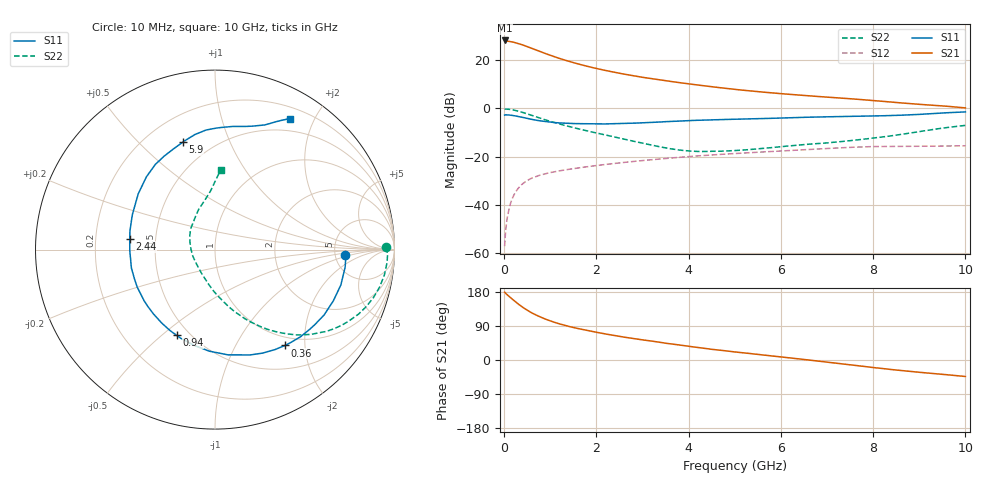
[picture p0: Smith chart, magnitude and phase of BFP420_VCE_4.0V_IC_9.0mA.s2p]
! Infineon Technologies  Discrete & RF Semiconductors
! BFP420
! VCE =  4.0 V,  IC =  9.0 mA
! Common Emitter S-Parameters:  Jan 2016
# GHz  S  MA  R  50
!  f  S11  S21  S12  S22
! GHz  MAG  ANG  MAG  ANG  MAG  ANG  MAG  ANG
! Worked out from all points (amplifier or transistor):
!   233 points, 10 MHz to 10 GHz, reference 50 ohm
!   highest |S21| = 28.1 dB at 10 MHz (marker M1)
!   |S21| within 3 dB of that: start of sweep to 563 MHz
!   unconditionally stable (mu >= 1): start of sweep to 14.33 MHz; 2.466 GHz to end of sweep
!   at 200 MHz: K = 0.20, MSG = 31.9 dB, |S12| = -36.4 dB
!   at 1.74 GHz: K = 0.80, MSG = 21.0 dB, |S12| = -24.4 dB
!   at 10 GHz: K = 1.10, MAG = 6.0 dB, |S12| = -15.5 dB
!   S11 on the Smith chart (normalised r, x): 10 MHz: 6.11, -0.71; 360 MHz: 0.86, -1.63; 940 MHz: 0.43, -0.56; 2.44 GHz: 0.35, +0.06; 5.9 GHz: 0.35, +0.68; 10 GHz: 0.33, +1.68
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0.01  0.7221 -2.2  25.34 178.9  0.0014 33.4  0.9551 0.8
0.02  0.7301 -3.0  24.63 177.4  0.002 49.6  0.9616 -1.5
0.1  0.7284 -15.7  24.34 168.6  0.0078 73.5  0.9544 -8.5
0.19  0.7095 -29.5  23.47 159.1  0.0145 71.7  0.9263 -15.9
0.3  0.6802 -45.6  22.05 148.1  0.0217 66.5  0.8768 -24.2
0.36  0.6614 -53.8  21.14 142.8  0.0252 63.5  0.8445 -28.2
0.45  0.6344 -65.4  19.73 135.2  0.0297 59.6  0.7948 -33.8
0.6  0.5911 -82.9  17.41 124.2  0.0359 54.3  0.712 -41.6
0.8  0.546 -102.4  14.68 112.5  0.0419 49.3  0.6153 -49.7
0.94  0.5232 -114.1  13.1 105.9  0.0453 46.8  0.5587 -54.3
1.08  0.5071 -124.5  11.75 99.9  0.0484 45.0  0.51 -58.4
1.24  0.4944 -135.0  10.46 94.0  0.0515 43.4  0.4615 -62.6
1.42  0.4857 -145.3  9.268 88.1  0.0549 42.1  0.4162 -66.9
1.68  0.4782 -158.2  7.919 80.9  0.0595 40.6  0.3619 -72.5
2  0.4739 -171.3  6.662 73.1  0.0653 39.0  0.3088 -78.7
2.44  0.4786 172.8  5.446 63.6  0.073 36.8  0.2485 -88.3
3.4  0.5211 146.4  3.836 46.3  0.0897 31.4  0.1577 -115.8
5.1  0.5956 117.1  2.409 20.1  0.1173 19.9  0.1352 176.2
5.9  0.6244 106.8  2.046 9.5  0.1291 14.3  0.1571 153.2
6.8  0.6605 96.5  1.756 -2.8  0.1438 7.3  0.1859 133.5
8.4  0.7076 75.9  1.342 -25.2  0.1622 -8.7  0.2696 104.0
10  0.8417 60.2  1.019 -43.5  0.1676 -20.0  0.4429 86.0
